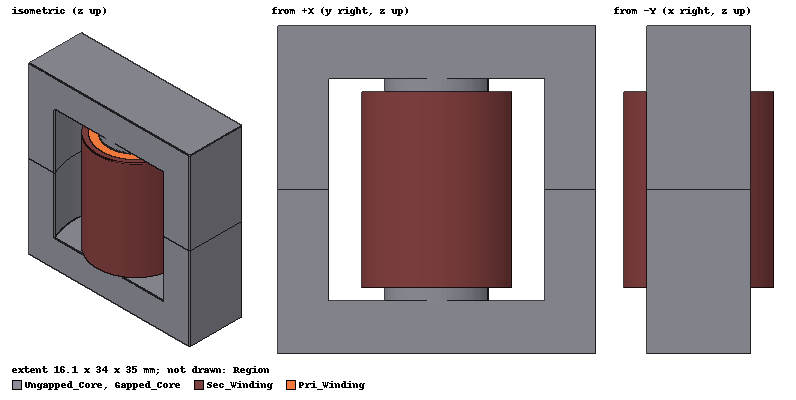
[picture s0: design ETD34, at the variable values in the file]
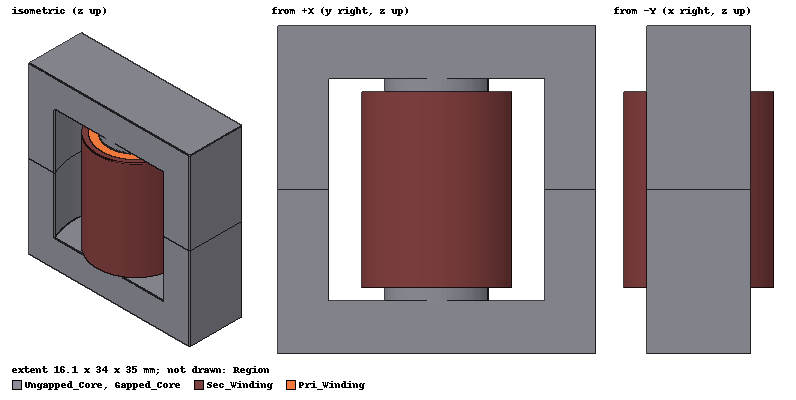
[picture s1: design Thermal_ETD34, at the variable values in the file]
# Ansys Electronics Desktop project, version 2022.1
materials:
  copper: permeability=0.999991 conductivity=58000000 thermal_conductivity=400 mass_density=8933 specific_heat=385 youngs_modulus=120000000000 poissons_ratio=0.38 thermal_expansion_coefficient=1.77e-05
  ferrite_N87_ETD44: permittivity=12 permeability=1650 conductivity=0.01 thermal_conductivity=4 mass_density=4600 specific_heat=750 youngs_modulus=119000000000 thermal_expansion_coefficient=1e-05
  vacuum: permittivity=1
  Ferrite_N87_ETD45_Coreloss: permittivity=12 permeability=1650 conductivity=0.01 thermal_conductivity=4 core_loss_type="B-P Curve" mass_density=4600 specific_heat=750 youngs_modulus=119000000000 thermal_expansion_coefficient=1e-05 core_loss_equiv_cut_depth=0.001meter core_loss_curves{PUnit=kw/m^3 BUnit=mTesla Frequency=100kHz Thickness=0.5mm BPCoordinates{DimUnits("", "") Points(0, 0, 30, 2, 40, 4, 50, 8, 60, 15, 70, 20, 80, 30, 90, 40, 100, 50, 200, 300)}}
  air: permittivity=1.0006 permeability=1.0000004 thermal_conductivity=0.0261 mass_density=1.1614 specific_heat=1005 thermal_expansion_coefficient=0.00333 thermal_material_type=Fluid diffusivity=2.88e-05 molecular_mass=0.028966 viscosity=1.84e-05 material_refractive_index=1.000293
  Al-Extruded: thermal_conductivity=205 mass_density=2800 specific_heat=900 youngs_modulus=69000000000 poissons_ratio=0.33 thermal_expansion_coefficient=2.277e-06 thermal_material_type=Solid
  N87_ETD34_Coreloss: permittivity=12 permeability=1670 conductivity=0.01 thermal_conductivity=4 core_loss_type="B-P Curve" mass_density=4600 specific_heat=750 youngs_modulus=119000000000 thermal_expansion_coefficient=1e-05 core_loss_equiv_cut_depth=0.001meter core_loss_curves{PUnit=kw/m^3 BUnit=mTesla Frequency=100kHz Thickness=0.5mm BPCoordinates{DimUnits("", "") Points(0, 0, 30, 2, 40, 4, 50, 8, 60, 15, 70, 20, 80, 30, 90, 40, 100, 50, 200, 300)}}
  NdFe35: permittivity=1 permeability=1.0997785 conductivity=625000 magnetic_coercivity{Magnitude=-890000A_per_meter DirComp1=1 DirComp2=0 DirComp3=0} lande_g_factor=2 mass_density=7400 youngs_modulus=147000000000 thermal_expansion_coefficient{anisotropic component1=3e-06 component2=-5e-06 component3=-5e-06}
  NdFe30: permittivity=1 permeability=1.044573 conductivity=625000 magnetic_coercivity{Magnitude=-838000A_per_meter DirComp1=1 DirComp2=0 DirComp3=0} lande_g_factor=2 mass_density=7550 youngs_modulus=147000000000 thermal_expansion_coefficient{anisotropic component1=3e-06 component2=-5e-06 component3=-5e-06}
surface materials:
  Steel-oxidised-surface: surface_emissivity=0.8

design flyback (Twin Builder)
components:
  PWM1 = PWM(DC=0.18 PERIOD=10us VAL=0 PHASE=0deg TD=0us)
  D1 = D(RR=100000GOhm I=0)
  C1 = C(UseInitialConditions=true C=470uF)
  R3 = R(R=3.84ohm)
  ramp1 = ramp(duration=2m amp=293)
  TFR1P2W1 = TFR1P2W(IP0=0 IS0=0 LM=200uH LS1=0H LS2=0H KTR=0.39 I1=0 I2=0)
  S1 = S(CTRL=PWM1.VAL I=0)
  Excitations1 = ExcitationComponent22(Pri_Winding=S1.I Sec_Winding=D1.I)
  EC1 = EC(QUANT=ramp1.val)
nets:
  0: C1.1, S1.1, R3.1, EC1.0, TFR1P2W1.3
  net_1: EC1.1, TFR1P2W1.0
  net_12: TFR1P2W1.2, D1.0
  net_13: EC1.QUANT, ramp1.val
  net_16: S1.I, Excitations1.Pri_Winding
  net_17: D1.I, Excitations1.Sec_Winding
  net_3: S1.0, TFR1P2W1.1
  net_5: S1.CTRL, PWM1.VAL
  net_9: C1.0, R3.0, D1.1
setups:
  TR: TransientData(100ms, 100ns, 100ns, false, "")
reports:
  XY Plot 1: R3.V vs Time on TR : TR
  XY Plot 2: D1.I, S1.I vs Time on TR : TR

design ETD34 (Maxwell 3D, Transient, model units mm)
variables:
  gap = 1mm
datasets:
  Pri_Winding: (0, 1.7615067) (1e-07, 1.9080067) (2e-07, 2.0545067) (3e-07, 2.2010067) (4e-07, 2.3475067) (5e-07, 2.4940067) (6e-07, 2.6405067) (7e-07, 2.7870067) (8e-07, 2.9335067) (9e-07, 3.0800067) (1e-06, 3.2265067) (1.1e-06, 3.3730067) (1.2e-06, 3.5195067) (1.3e-06, 3.6660067) (1.4e-06, 3.8125067) (1.5e-06, 3.9590067) (1.6e-06, 4.1055067) (1.7e-06, 4.2520067) (1.8e-06, 0) (1.9e-06, 0) (2e-06, 0) (2.1e-06, 0) (2.2e-06, 0) (2.3e-06, 0) (2.4e-06, 0) (2.5e-06, 0) (2.6e-06, 0) (2.7e-06, 0) (2.8e-06, 0) (2.9e-06, 0) (3e-06, 0) (3.1e-06, 0) (3.2e-06, 0) (3.3e-06, 0) (3.4e-06, 0) (3.5e-06, 0) (3.6e-06, 0) (3.7e-06, 0) (3.8e-06, 0) (3.9e-06, 0) (4e-06, 0) (4.1e-06, 0) (4.2e-06, 0) (4.3e-06, 0) (4.4e-06, 0) (4.5e-06, 0) (4.6e-06, 0) (4.7e-06, 0) (4.8e-06, 0) (4.9e-06, 0) (5e-06, 0) (5.1e-06, 0) (5.2e-06, 0) (5.3e-06, 0) (5.4e-06, 0) (5.5e-06, 0) (5.6e-06, 0) (5.7e-06, 0) (5.8e-06, 0) (5.9e-06, 0) (6e-06, 0) (6.1e-06, 0) (6.2e-06, 0) (6.3e-06, 0) (6.4e-06, 0) (6.5e-06, 0) (6.6e-06, 0) (6.7e-06, 0) (6.8e-06, 0) (6.9e-06, 0) (7e-06, 0) (7.1e-06, 0) (7.2e-06, 0) (7.3e-06, 0) (7.4e-06, 0) (7.5e-06, 0) (7.6e-06, 0) (7.7e-06, 0) (7.8e-06, 0) (7.9e-06, 0) (8e-06, 0) (8.1e-06, 0) (8.2e-06, 0) (8.3e-06, 0) (8.4e-06, 0) (8.5e-06, 0) (8.6e-06, 0) (8.7e-06, 0) (8.8e-06, 0) (8.9e-06, 0) (9e-06, 0) (9.1e-06, 0) (9.2e-06, 0) (9.3e-06, 0) (9.4e-06, 0) (9.5e-06, 0) (9.6e-06, 0) (9.7e-06, 0) (9.8e-06, 0) (9.9e-06, 0) (1e-05, 1.7615067) (1.01e-05, 1.9080067) (1.02e-05, 2.0545067) (1.03e-05, 2.2010067) (1.04e-05, 2.3475067) (1.05e-05, 2.4940067) (1.06e-05, 2.6405067) (1.07e-05, 2.7870067) (1.08e-05, 2.9335067) (1.09e-05, 3.0800067) (1.1e-05, 3.2265067) (1.11e-05, 3.3730067) (1.12e-05, 3.5195067) (1.13e-05, 3.6660067) (1.14e-05, 3.8125067) (1.15e-05, 3.9590067) (1.16e-05, 4.1055067) (1.17e-05, 4.2520067) (1.18e-05, 0) (1.19e-05, 0)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
  Sec_Winding: (0, -1.3854743e-12) (1e-07, -1.3854618e-12) (2e-07, -1.3854483e-12) (3e-07, -1.3854349e-12) (4e-07, -1.3854214e-12) (5e-07, -1.385408e-12) (6e-07, -1.3853946e-12) (7e-07, -1.3853811e-12) (8e-07, -1.3853677e-12) (9e-07, -1.3853542e-12) (1e-06, -1.3853408e-12) (1.1e-06, -1.3853273e-12) (1.2e-06, -1.3853139e-12) (1.3e-06, -1.3853004e-12) (1.4e-06, -1.385287e-12) (1.5e-06, -1.3852736e-12) (1.6e-06, -1.3852601e-12) (1.7e-06, -1.3852467e-12) (1.8e-06, 11.049202) (1.9e-06, 10.966801) (2e-06, 10.884397) (2.1e-06, 10.801991) (2.2e-06, 10.719583) (2.3e-06, 10.637171) (2.4e-06, 10.554757) (2.5e-06, 10.472341) (2.6e-06, 10.389921) (2.7e-06, 10.307499) (2.8e-06, 10.225075) (2.9e-06, 10.142648) (3e-06, 10.060218) (3.1e-06, 9.9777867) (3.2e-06, 9.8953527) (3.3e-06, 9.8129164) (3.4e-06, 9.7304781) (3.5e-06, 9.6480376) (3.6e-06, 9.565595) (3.7e-06, 9.4831504) (3.8e-06, 9.4007039) (3.9e-06, 9.3182556) (4e-06, 9.2358053) (4.1e-06, 9.1533534) (4.2e-06, 9.0708997) (4.3e-06, 8.9884444) (4.4e-06, 8.9059874) (4.5e-06, 8.823529) (4.6e-06, 8.741069) (4.7e-06, 8.6586076) (4.8e-06, 8.5761449) (4.9e-06, 8.4936809) (5e-06, 8.4112156) (5.1e-06, 8.3287491) (5.2e-06, 8.2462815) (5.3e-06, 8.1638128) (5.4e-06, 8.0813432) (5.5e-06, 7.9988725) (5.6e-06, 7.9164009) (5.7e-06, 7.8339286) (5.8e-06, 7.7514554) (5.9e-06, 7.6689815) (6e-06, 7.5865069) (6.1e-06, 7.5040317) (6.2e-06, 7.4215559) (6.3e-06, 7.3390797) (6.4e-06, 7.256603) (6.5e-06, 7.174126) (6.6e-06, 7.0916486) (6.7e-06, 7.0091709) (6.8e-06, 6.9266931) (6.9e-06, 6.844215) (7e-06, 6.7617369) (7.1e-06, 6.6792588) (7.2e-06, 6.5967807) (7.3e-06, 6.5143027) (7.4e-06, 6.4318248) (7.5e-06, 6.3493471) (7.6e-06, 6.2668696) (7.7e-06, 6.1843925) (7.8e-06, 6.1019157) (7.9e-06, 6.0194394) (8e-06, 5.9369635) (8.1e-06, 5.8544882) (8.2e-06, 5.7720135) (8.3e-06, 5.6895394) (8.4e-06, 5.6070661) (8.5e-06, 5.5245935) (8.6e-06, 5.4421218) (8.7e-06, 5.3596509) (8.8e-06, 5.277181) (8.9e-06, 5.1947121) (9e-06, 5.1122443) (9.1e-06, 5.0297775) (9.2e-06, 4.947312) (9.3e-06, 4.8648477) (9.4e-06, 4.7823846) (9.5e-06, 4.699923) (9.6e-06, 4.6174627) (9.7e-06, 4.5350039) (9.8e-06, 4.4525466) (9.9e-06, 4.3700909) (1e-05, -1.3854743e-12) (1.01e-05, -1.3854618e-12) (1.02e-05, -1.3854483e-12) (1.03e-05, -1.3854349e-12) (1.04e-05, -1.3854214e-12) (1.05e-05, -1.385408e-12) (1.06e-05, -1.3853946e-12) (1.07e-05, -1.3853811e-12) (1.08e-05, -1.3853677e-12) (1.09e-05, -1.3853542e-12) (1.1e-05, -1.3853408e-12) (1.11e-05, -1.3853273e-12) (1.12e-05, -1.3853139e-12) (1.13e-05, -1.3853004e-12) (1.14e-05, -1.385287e-12) (1.15e-05, -1.3852736e-12) (1.16e-05, -1.3852601e-12) (1.17e-05, -1.3852467e-12) (1.18e-05, 11.049202) (1.19e-05, 10.966801)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
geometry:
  Box1 = box(corner=(0mm, 0mm, 0mm), size=(11.1mm, 34mm, 17.5mm))
  coordinate_system RelativeCS1 = origin=(5.5mm, 17mm, 5.7mm) x=(1mm, 0mm, 0mm) y=(0mm, 1mm, 0mm)
  Cylinder1 = cylinder(axis=Z, base_centre=(0mm, 0mm, 0mm), radius=12.8mm, height=11.8mm) in RelativeCS1
  Box1.subtract(Cylinder1)
  Ungapped_Core [N87_ETD34_Coreloss] = cylinder(axis=Z, base_centre=(0mm, 0mm, 0mm), radius=5.55mm, height=11.8mm) in RelativeCS1
  Ungapped_Core.unite(Box1)
  coordinate_system RelativeCS2 = origin=(0mm, 0mm, 35mm) x=(1mm, 0mm, 0mm) y=(0mm, 1mm, 0mm)
  Gapped_Core [N87_ETD34_Coreloss] = box(corner=(0mm, 0mm, 0mm), size=(11.1mm, 34mm, -17.5mm)) in RelativeCS2
  coordinate_system RelativeCS3 = origin=(5.5mm, 17mm, -5.7mm) x=(1mm, 0mm, 0mm) y=(0mm, 1mm, 0mm) in RelativeCS2
  Cylinder3 = cylinder(axis=Z, base_centre=(0mm, 0mm, 0mm), radius=12.8mm, height=-11.8mm) in RelativeCS3
  Gapped_Core.subtract(Cylinder3)
  Cylinder4 = cylinder(axis=Z, base_centre=(0mm, 0mm, 0mm), radius=5.55mm, height=-11.8mm + gap) in RelativeCS3
  Gapped_Core.unite(Cylinder4)
  Region [air] = region(percentage_offset=100 on all sides) in RelativeCS3
  coordinate_system RelativeCS4 = origin=(5.5mm, 17mm, 17.5mm) x=(1mm, 0mm, 0mm) y=(0mm, 1mm, 0mm)
  Barea [non-model] = circle(normal=Z, centre=(0mm, 0mm, 0mm), radius=30mm) in RelativeCS4
  coordinate_system RelativeCS5 = origin=(0mm, 0mm, 1.35mm) x=(1mm, 0mm, 0mm) y=(0mm, 1mm, 0mm) in RelativeCS1
  Cylinder5 = cylinder(axis=Z, base_centre=(0mm, 0mm, 0mm), radius=5.55mm, height=20.9mm) in RelativeCS5
  Pri_Winding [copper] = cylinder(axis=Z, base_centre=(0mm, 0mm, 0mm), radius=7.05mm, height=20.9mm) in RelativeCS5
  Pri_Winding.subtract(Cylinder5)
  Cylinder7 = cylinder(axis=Z, base_centre=(0mm, 0mm, 0mm), radius=7.05mm, height=20.9mm) in RelativeCS5
  Sec_Winding [copper] = cylinder(axis=Z, base_centre=(0mm, 0mm, 0mm), radius=8.05mm, height=20.9mm) in RelativeCS5
  Sec_Winding.subtract(Cylinder7)
  Pri_Terminal [copper] = Pri_Winding.section(plane=YZ) in RelativeCS5
  Sec_Terminal [copper] = Sec_Winding.section(plane=YZ) in RelativeCS5
  Pri_Terminal.separate_bodies()
  Sec_Terminal.separate_bodies()
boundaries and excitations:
  Pri_CoilTerminal: Coil Terminal Objects=Pri_Terminal Conductor_number=37 Winding=Pri_Winding Point_out_of_terminal=false
  Sec_CoilTerminal: Coil Terminal Objects=Sec_Terminal Conductor_number=15 Winding=Sec_Winding Point_out_of_terminal=false
  Pri_Winding: Winding Group Type=Current IsSolid=false Current=pwl(Pri_Winding,Time) ParallelBranchesNum=1
  Sec_Winding: Winding Group Type=Current IsSolid=false Current=pwl(Sec_Winding,Time) ParallelBranchesNum=1
  core loss on: Ungapped_Core, Gapped_Core
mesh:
  Length1: LengthBased RefineInside Objects=[Gapped_Core, Ungapped_Core] NumMaxElem=5000
  Length2: LengthBased RefineInside Objects=[Pri_Winding, Sec_Winding] NumMaxElem=5000
  initial mesh: GlobalCurvilinear{Apply}
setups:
  Setup1: Transient NonlinearSolverResidual=0.005 ScalarPotential="Second Order" StopTime=100us TimeStep=100ns SaveFieldsType="Every N Steps" N_Steps=1 Steps_From=0us Steps_To=30us NumberSolveSteps=1 RangeStart=0s RangeEnd=0.1s

design Thermal_ETD34 (Icepak, SteadyState TemperatureAndFlow, model units mm)
options: Default_Fluid_Material=air Default_Solid_Material=Al-Extruded Default_Surface_Material=Steel-oxidised-surface AmbientTemperature=20cel AmbientPressure=0n_per_meter_sq AmbientRadiationTemperature=20cel Gravity_Vector_CS_ID=Global Gravity_Vector_Axis=Z Positive=false
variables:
  gap = 1mm
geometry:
  Region [air] = region(percentage_offset: +X=100, -X=100, +Y=100, -Y=100, +Z=200, -Z=50)
  coordinate_system RelativeCS1 = origin=(5.5mm, 17mm, 5.7mm) x=(1mm, 0mm, 0mm) y=(0mm, 1mm, 0mm)
  Ungapped_Core [N87_ETD34_Coreloss] = cylinder(axis=Z, base_centre=(0mm, 0mm, 0mm), radius=5.55mm, height=11.8mm) in RelativeCS1
  Box1 = box(corner=(0mm, 0mm, 0mm), size=(11.1mm, 34mm, 17.5mm))
  Cylinder1 = cylinder(axis=Z, base_centre=(0mm, 0mm, 0mm), radius=12.8mm, height=11.8mm) in RelativeCS1
  Box1.subtract(Cylinder1)
  Ungapped_Core.unite(Box1)
  coordinate_system RelativeCS2 = origin=(0mm, 0mm, 35mm) x=(1mm, 0mm, 0mm) y=(0mm, 1mm, 0mm)
  Gapped_Core [N87_ETD34_Coreloss] = box(corner=(0mm, 0mm, 0mm), size=(11.1mm, 34mm, -17.5mm)) in RelativeCS2
  coordinate_system RelativeCS3 = origin=(5.5mm, 17mm, -5.7mm) x=(1mm, 0mm, 0mm) y=(0mm, 1mm, 0mm) in RelativeCS2
  Cylinder3 = cylinder(axis=Z, base_centre=(0mm, 0mm, 0mm), radius=12.8mm, height=-11.8mm) in RelativeCS3
  Gapped_Core.subtract(Cylinder3)
  Cylinder4 = cylinder(axis=Z, base_centre=(0mm, 0mm, 0mm), radius=5.55mm, height=-11.8mm + gap) in RelativeCS3
  Gapped_Core.unite(Cylinder4)
  coordinate_system RelativeCS5 = origin=(0mm, 0mm, 1.35mm) x=(1mm, 0mm, 0mm) y=(0mm, 1mm, 0mm) in RelativeCS1
  Pri_Winding [copper] = cylinder(axis=Z, base_centre=(0mm, 0mm, 0mm), radius=7.05mm, height=20.9mm) in RelativeCS5
  Cylinder5 = cylinder(axis=Z, base_centre=(0mm, 0mm, 0mm), radius=5.55mm, height=20.9mm) in RelativeCS5
  Pri_Winding.subtract(Cylinder5)
  Sec_Winding [copper] = cylinder(axis=Z, base_centre=(0mm, 0mm, 0mm), radius=8.05mm, height=20.9mm) in RelativeCS5
  Cylinder7 = cylinder(axis=Z, base_centre=(0mm, 0mm, 0mm), radius=7.05mm, height=20.9mm) in RelativeCS5
  Sec_Winding.subtract(Cylinder7)
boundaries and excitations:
  EMLoss1: EM Loss Objects=[Pri_Winding, Sec_Winding, Gapped_Core, Ungapped_Core] LinkID=4 Project="This Project*" Product=ElectronicsDesktop Design=ETD34 Params{gap=gap} ForceSourceToSolve PreservePartnerSoln PathRelativeTo=TargetProject Intrinsics(0us, 100us) LossMultiplier=1
  Opening1: Opening Faces=Region.face(all 6) Temperature=AmbientTemp External_Rad._Temperature=AmbientRadTemp Inlet_Type=Pressure Total_Pressure=AmbientPressure
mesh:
  MeshRegions:  Global{MeshMethod=MesherHD ComputeGap MeshRegionResolution=3 MinGapX=1mm MinGapY=1mm MinGapZ=1mm Objects=Region FacetLevel=3 ProximitySizeFunction CurvatureSizeFunction OptimizePCBMesh}
  MeshOperations:
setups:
  Setup1: IcepakSteadyState Flow_Regime=Laminar Include_Temperature=true Include_Flow=true Include_Gravity Solution_Initialization_-_Z_Velocity=0.001m_per_sec Convergence_Criteria_-_Flow=0.001 Convergence_Criteria_-_Energy=1e-07 Convergence_Criteria_-_Discrete_Ordinates=1e-06 disabled Radiation_Model="Discrete Ordinates Model" Flow_Iteration_Per_Radiation_Iteration=5 ThetaDivision=3 PhiDivision=3 ThetaPixels=3 PhiPixels=3 Under-relaxation_-_Pressure=0.3 Under-relaxation_-_Momentum=0.7 Under-relaxation_-_Temperature=1 Discretization_Scheme_-_Pressure=Standard Discretization_Scheme_-_Momentum=First Discretization_Scheme_-_Temperature=First Discretization_Scheme_-_Discrete_Ordinates=First Convergence_Criteria_-_Max_Iterations=100
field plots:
  Temperature1: Temperature over Pri_Winding, Sec_Winding, Gapped_Core, Ungapped_Core on Setup1 : SteadyState
